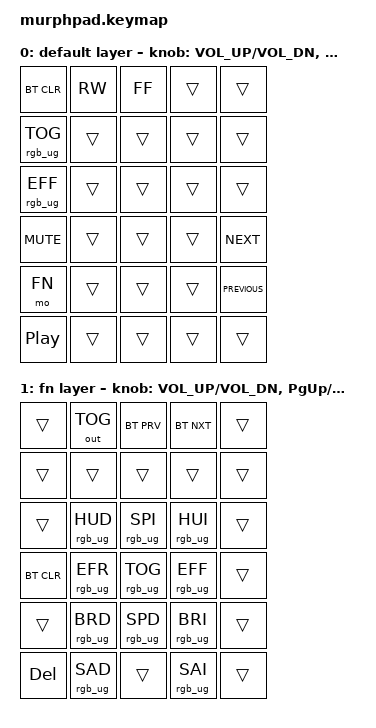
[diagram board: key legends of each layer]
/*
 * Copyright (c) 2021 Kyle McCreery
 *
 * SPDX-License-Identifier: MIT
 */

#include <behaviors.dtsi>
#include <dt-bindings/zmk/keys.h>
#include <dt-bindings/zmk/bt.h>
#include <dt-bindings/zmk/outputs.h>
#include <dt-bindings/zmk/rgb.h>

#define TIMEOUT 300

/* Layer Names*/
#define DEFAULT 0
#define FN      1

&encoder_1 {
    status = "okay";
};

&encoder_2 {
    status = "okay";
};

/* Combo Definitions*/
/ {
    combos {
        compatible = "zmk,combos";
        combo_btclr {
            timeout-ms = <TIMEOUT>;
            key-positions = <1 6>;
            bindings = <&bt BT_CLR>;
        };
        combo_reset {
            timeout-ms = <TIMEOUT>;
            key-positions = <1 3>;
            bindings = <&sys_reset>;
        };
        combo_bootloader {
            timeout-ms = <TIMEOUT>;
            key-positions = <1 2>;
            bindings = <&bootloader>;
        };
        combo_bt_nxt {
            timeout-ms = <TIMEOUT>;
            key-positions = <1 4>;
            bindings = <&bt BT_NXT>;
        };
    };

    sensors {
        compatible = "zmk,keymap-sensors";
        sensors = <&encoder_1 &encoder_2>;
    };


    keymap0: keymap {
        compatible = "zmk,keymap";

        default_layer {
        label = "default layer";
            bindings = <
                &bt BT_CLR       &kp C_RW       &kp C_FF      &trans            &trans
                &rgb_ug RGB_TOG  &trans       &trans          &trans            &trans
                &rgb_ug RGB_EFF  &trans       &trans          &trans            &trans
                &kp C_MUTE       &trans       &trans          &trans            &kp C_NEXT
                &mo FN           &trans       &trans          &trans            &kp C_PREVIOUS
                &kp C_PLAY_PAUSE &trans       &trans          &trans            &trans
            >;
            sensor-bindings = <&inc_dec_kp C_VOL_UP C_VOL_DN &inc_dec_kp LEFT_ARROW RIGHT_ARROW>;

        };

        fn_layer {
        label = "fn layer";
            bindings = <
                &trans      &out OUT_TOG     &bt BT_PRV       &bt BT_NXT       &trans
                &trans      &trans           &trans           &trans           &trans
                &trans      &rgb_ug RGB_HUD  &rgb_ug RGB_SPI  &rgb_ug RGB_HUI  &trans
                &bt BT_CLR  &rgb_ug RGB_EFR  &rgb_ug RGB_TOG  &rgb_ug RGB_EFF  &trans
                &trans      &rgb_ug RGB_BRD  &rgb_ug RGB_SPD  &rgb_ug RGB_BRI  &trans
                &kp DEL     &rgb_ug RGB_SAD  &trans           &rgb_ug RGB_SAI  &trans
            >;
            sensor-bindings = <&inc_dec_kp C_VOL_UP C_VOL_DN &inc_dec_kp PG_UP PG_DN>;

        };
    };
};
